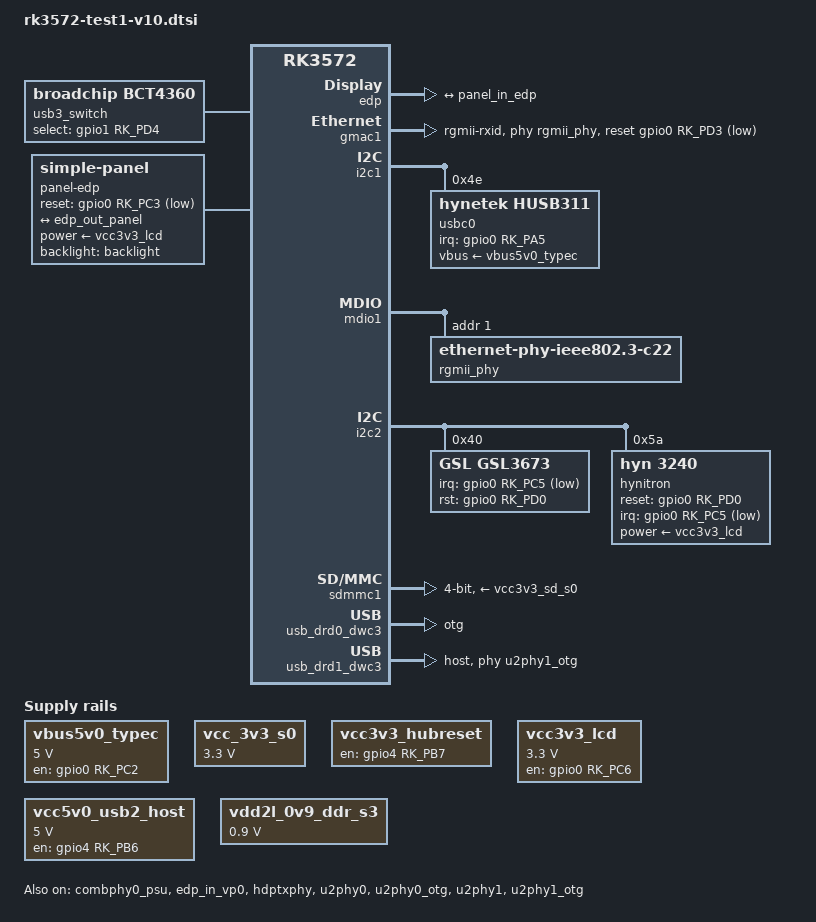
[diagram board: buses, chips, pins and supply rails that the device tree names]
// SPDX-License-Identifier: (GPL-2.0+ OR MIT)
/*
 * Copyright (c) 2025 Rockchip Electronics Co., Ltd.
 */

#include <dt-bindings/usb/pd.h>
#include "rk3572.dtsi"
#include "rk3572-evb.dtsi"
#include "rk3572-rk806.dtsi"

/ {
	usb3_switch: usb3-switch {
		compatible = "broadchip,bct4360", "gpio-sbu-mux";
		select-gpios = <&gpio1 RK_PD4 GPIO_ACTIVE_HIGH>;
		pinctrl-names = "default";
		pinctrl-0 = <&usb3_switch_default>;
		orientation-switch;
	};

	vbus5v0_typec: vbus5v0-typec {
		compatible = "regulator-fixed";
		regulator-name = "vbus5v0_typec";
		regulator-min-microvolt = <5000000>;
		regulator-max-microvolt = <5000000>;
		enable-active-high;
		gpio = <&gpio0 RK_PC2 GPIO_ACTIVE_HIGH>;
		pinctrl-names = "default";
		pinctrl-0 = <&usb_drd0_pwren>;
	};

	vcc_3v3_s0: vcc-3v3-s0 {
		compatible = "regulator-fixed";
		regulator-name = "vcc_3v3_s0";
		regulator-boot-on;
		regulator-always-on;
		regulator-min-microvolt = <3300000>;
		regulator-max-microvolt = <3300000>;
	};

	vcc3v3_hubreset: vcc3v3-hubreset {
		compatible = "regulator-fixed";
		regulator-name = "vcc3v3_hubreset";
		enable-active-high;
		regulator-boot-on;
		regulator-always-on;
		gpio = <&gpio4 RK_PB7 GPIO_ACTIVE_HIGH>;
		pinctrl-names = "default";
		pinctrl-0 = <&usb_hub_reset>;
	};

	vcc3v3_lcd: vcc3v3-lcd {
		compatible = "regulator-fixed";
		regulator-name = "vcc3v3_lcd";
		regulator-boot-on;
		enable-active-high;
		regulator-min-microvolt = <3300000>;
		regulator-max-microvolt = <3300000>;
		gpio = <&gpio0 RK_PC6 GPIO_ACTIVE_HIGH>;
	};

	vcc5v0_usb2_host: vcc5v0-usb2-host {
		compatible = "regulator-fixed";
		regulator-name = "vcc5v0_usb2_host";
		regulator-boot-on;
		regulator-always-on;
		regulator-min-microvolt = <5000000>;
		regulator-max-microvolt = <5000000>;
		enable-active-high;
		gpio = <&gpio4 RK_PB6 GPIO_ACTIVE_HIGH>;
		pinctrl-names = "default";
		pinctrl-0 = <&usb_drd1_pwren>;
	};

	vdd2l_0v9_ddr_s3: vdd2l-0v9-ddr-s3 {
		compatible = "regulator-fixed";
		regulator-name = "vdd2l_0v9_ddr_s3";
		regulator-boot-on;
		regulator-always-on;
		regulator-min-microvolt = <900000>;
		regulator-max-microvolt = <900000>;
	};

	panel-edp {
		compatible = "simple-panel";
		backlight = <&backlight>;
		power-supply = <&vcc3v3_lcd>;
		pinctrl-name = "default";
		pinctrl-0 = <&edp_panel_reset>;
		reset-gpios = <&gpio0 RK_PC3 GPIO_ACTIVE_LOW>;
		prepare-delay-ms = <120>;
		enable-delay-ms = <120>;
		unprepare-delay-ms = <120>;
		disable-delay-ms = <120>;
		width-mm = <120>;
		height-mm = <160>;
		status = "okay";

		panel-timing {
			clock-frequency = <200000000>;
			hactive = <1536>;
			vactive = <2048>;
			hfront-porch = <12>;
			hsync-len = <16>;
			hback-porch = <48>;
			vfront-porch = <8>;
			vsync-len = <4>;
			vback-porch = <8>;
			hsync-active = <0>;
			vsync-active = <0>;
			de-active = <0>;
			pixelclk-active = <0>;
		};

		port {
			panel_in_edp: endpoint {
				remote-endpoint = <&edp_out_panel>;
			};
		};
	};
};

&combphy0_psu {
	status = "okay";
};

&dsmc {
	clock-frequency = <10000000>;
	status = "disabled";
	slave {
		rockchip,dqs-dll = <0x80 0x80
				    0x80 0x80
				    0x80 0x80
				    0x80 0x80>;
		rockchip,ranges = <0x0 0x10000000 0x0 0x2000000>;
	};
};

&dsmc_slave {
	status = "disabled";
	psram {
		dsmc_psram0: psram0 {
			status = "disabled";
		};
		dsmc_psram1: psram1 {
			status = "disabled";
		};
		dsmc_psram2: psram2 {
			status = "disabled";
		};
		dsmc_psram3: psram3 {
			status = "disabled";
		};
	};

	lb-slave {
		dsmc_lb_slave0: lb-slave0 {
			rockchip,int-en = <0x0>;
			status = "okay";
			dsmc_p0_region: region {
				dsmc_p0_region0: region0 {
					status = "okay";
				};
				dsmc_p0_region3: region3 {
					status = "okay";
				};
			};
		};
	};
};

&edp {
	force-hpd;
	status = "okay";

	ports {
		port@1 {
			reg = <1>;

			edp_out_panel: endpoint {
				remote-endpoint = <&panel_in_edp>;
			};
		};
	};
};

&edp_in_vp0 {
	status = "okay";
};

&gmac1 {
	phy-mode = "rgmii-rxid";
	clock_in_out = "output";

	snps,reset-gpio = <&gpio0 RK_PD3 GPIO_ACTIVE_LOW>;
	snps,reset-active-low;
	/* Reset time is 20ms, 100ms for rtl8211f */
	snps,reset-delays-us = <0 20000 100000>;

	pinctrl-names = "default";
	pinctrl-0 = <&eth1m0_miim_pins
		     &eth1m0_tx_bus2_pins
		     &eth1m0_rx_bus2_pins
		     &eth1m0_rgmii_clk_pins
		     &eth1m0_rgmii_bus_pins
		     &ethm0_clk1_25m_out_pins>;

	tx_delay = <0x1f>;
	/* rx_delay = <0x3f>; */

	phy-handle = <&rgmii_phy>;
	status = "okay";
};

&hdptxphy {
	status = "okay";
};

&i2c1 {
	status = "okay";
	pinctrl-names = "default";
	pinctrl-0 = <&i2c1m1_xfer_pins>;

	usbc0: husb311@4e {
		compatible = "hynetek,husb311";
		reg = <0x4e>;
		interrupt-parent = <&gpio0>;
		interrupts = <RK_PA5 IRQ_TYPE_LEVEL_LOW>;
		pinctrl-names = "default";
		pinctrl-0 = <&usbc0_int>;
		vbus-supply = <&vbus5v0_typec>;
		status = "okay";

		usb_con0: connector {
			compatible = "usb-c-connector";
			label = "USB-C";
			data-role = "dual";
			power-role = "dual";
			try-power-role = "sink";
			op-sink-microwatt = <1000000>;
			orientation-switch = <&usb3_switch &u2phy0>;
			usb-role-switch = <&usb_drd0_dwc3>;

			sink-pdos = <PDO_FIXED(5000, 1000, PDO_FIXED_DATA_SWAP | PDO_FIXED_USB_COMM | PDO_FIXED_EXTPOWER | PDO_FIXED_DUAL_ROLE)>;
			source-pdos = <PDO_FIXED(5000, 3000, PDO_FIXED_DATA_SWAP | PDO_FIXED_USB_COMM | PDO_FIXED_EXTPOWER | PDO_FIXED_DUAL_ROLE)>;
		};
	};
};

&mdio1 {
	rgmii_phy: phy@1 {
		compatible = "ethernet-phy-ieee802.3-c22";
		reg = <0x1>;
		clocks = <&cru REFCLKO25M_GMAC1_OUT>;
	};
};

&i2c2 {
	status = "okay";

	gsl3673@40 {
		compatible = "GSL,GSL3673";
		reg = <0x40>;
		screen_max_x = <1536>;
		screen_max_y = <2048>;
		irq-gpios = <&gpio0 RK_PC5 GPIO_ACTIVE_LOW>;
		rst-gpios = <&gpio0 RK_PD0 GPIO_ACTIVE_HIGH>;
	};

	hynitron: hynitron@5a {
		status = "okay";
		compatible = "hyn,3240";
		reg = <0x5a>;

		pinctrl-names = "ts_active","ts_suspend";
		pinctrl-0 = <&ts_int_active &ts_reset_active>;
		pinctrl-1 = <&ts_int_suspend &ts_reset_suspend>;

		reset-gpios = <&gpio0 RK_PD0 GPIO_ACTIVE_HIGH>;
		irq-gpios = <&gpio0 RK_PC5 GPIO_ACTIVE_LOW>;

		power-supply = <&vcc3v3_lcd>;
		max-touch-number = <5>;
		display-coords = <0 0 1080 1920>;
		pos-swap = <0>;
		posx-reverse = <0>;
		posy-reverse = <0>;
	};
};

&pinctrl {
	display {
		edp_panel_reset: edp-panel-reset {
			rockchip,pins = <0 RK_PC3 RK_FUNC_GPIO &pcfg_pull_up>;
		};
	};

	touch {
		ts_int_active: ts_int_active {
			rockchip,pins = <0 RK_PC5 RK_FUNC_GPIO &pcfg_pull_up>;
		};

		ts_reset_active: ts_reset_active {
			rockchip,pins = <0 RK_PD0 RK_FUNC_GPIO &pcfg_pull_up>;
		};

		ts_int_suspend: ts_int_suspend {
			rockchip,pins = <0 RK_PC5 RK_FUNC_GPIO &pcfg_pull_down>;
		};

		ts_reset_suspend: ts_reset_suspend {
			rockchip,pins = <0 RK_PD0 RK_FUNC_GPIO &pcfg_pull_down>;
		};
	};

	usb {
		usb3_switch_default: usb3-switch-default {
			rockchip,pins = <1 RK_PD4 RK_FUNC_GPIO &pcfg_pull_none>;
		};

		usb_drd0_pwren: usb-drd0-pwren {
			rockchip,pins = <0 RK_PC2 RK_FUNC_GPIO &pcfg_pull_none>;
		};

		usb_drd1_pwren: usb-drd1-pwren {
			rockchip,pins = <4 RK_PB6 RK_FUNC_GPIO &pcfg_pull_none>;
		};

		usb_hub_reset: usb-hub-reset {
			rockchip,pins = <4 RK_PB7 RK_FUNC_GPIO &pcfg_pull_none>;
		};

		usbc0_int: usbc0-int {
			rockchip,pins = <0 RK_PA5 RK_FUNC_GPIO &pcfg_pull_up>;
		};
	};
};

&sdmmc1 {
	bus-width = <4>;
	cap-sd-highspeed;
	max-frequency = <200000000>;
	no-sdio;
	no-mmc;
	sd-uhs-sdr104;
	vmmc-supply = <&vcc3v3_sd_s0>;
	vqmmc-supply = <&vccio_sd_s0>;
	status = "okay";
};

&u2phy0 {
	orientation-switch;
	status = "okay";
};

&u2phy0_otg {
	rockchip,typec-vbus-det;
	status = "okay";
};

&u2phy1 {
	status = "okay";
};

&u2phy1_otg {
	phy-supply = <&vcc5v0_usb2_host>;
	status = "okay";
};

&usb_drd0_dwc3 {
	dr_mode = "otg";
	usb-role-switch;
	status = "okay";
};

&usb_drd1_dwc3 {
	dr_mode = "host";
	maximum-speed = "high-speed";
	phys = <&u2phy1_otg>;
	phy-names = "usb2-phy";
	snps,dis_u2_susphy_quirk;
	snps,usb2-lpm-disable;
	status = "okay";
};
